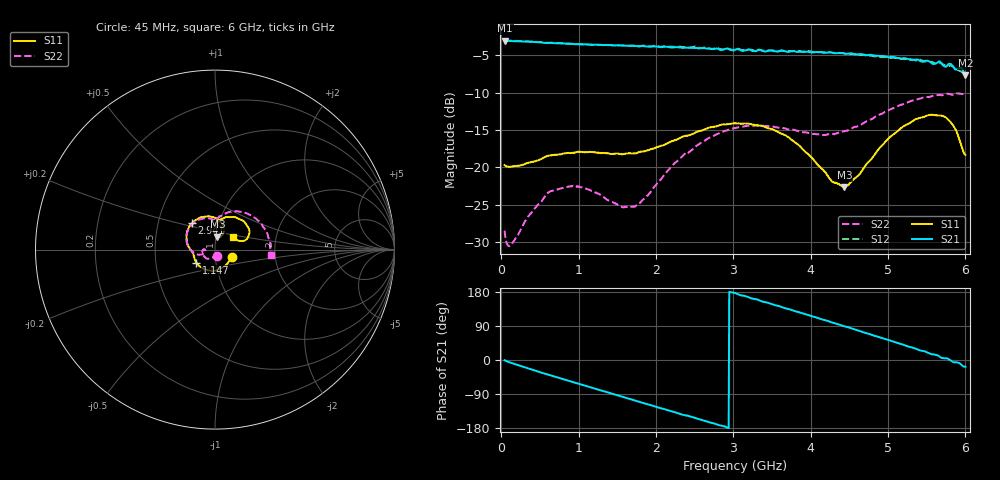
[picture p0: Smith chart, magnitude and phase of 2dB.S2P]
! C:\Users\Aljaz\OneDrive - Univerza v Ljubljani\DOKTORAT\NOVI SA\Slabilec PE43711B\meritve\2dB.S2P
! Touchstone 1.1 file saved by VNA.EXE V1.65 (www.ke5fx.com/gpib/readme.htm)
! 2. 04. 2022 19:12:01
!  Source: HP8510C.07.14: Aug 26  1998
!  Min freq: 4.500000E+007 Hz
!  Max freq: 6.000000E+009 Hz
!  Points: 801
!  Params: S11 S21 S12 S22
# GHZ S DB R 50
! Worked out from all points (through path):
!   801 points, 45 MHz to 6 GHz, reference 50 ohm
!   highest |S21| = -3.03 dB at 52.44 MHz (marker M1); lowest = -7.6 dB at 6 GHz (marker M2)
!   group delay of S21, straight-line fit = 171 ps
!   lowest |S11| = -22.7 dB at 4.437 GHz (marker M3), VSWR 1.16, Z = 50.8 + j7.39 ohm
!   |S11| at or under -10 dB: start of sweep to end of sweep
!   |S22| runs from -30.6 to -10.1 dB; largest |S21 - S12| = 0.029
!   S11 on the Smith chart (normalised r, x): 45 MHz: 1.21, -0.10; 1.147 GHz: 0.80, -0.12; 2.941 GHz: 0.74, +0.23; 6 GHz: 1.21, +0.17
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0.045  -19.69 -22.2  -3.05 -0.7  -3.00 -0.6  -28.51 -69.8
0.05244375  -19.78 -21.5  -3.03 -1.5  -2.99 -1.5  -29.25 -68.5
0.0896625  -19.91 -23.6  -3.06 -4.7  -3.02 -4.6  -30.51 -69.1
0.134325  -19.88 -29.0  -3.05 -8.0  -3.01 -8.0  -30.33 -73.9
0.6181688  -18.45 -96.2  -3.32 -39.1  -3.30 -39.1  -23.33 -133.4
1.042463  -17.94 -136.9  -3.51 -65.1  -3.52 -65.1  -22.67 -168.1
1.146675  -17.92 -145.1  -3.55 -71.4  -3.54 -71.3  -23.05 -174.6
1.697512  -18.15 -170.6  -3.69 -105.0  -3.66 -104.3  -25.28 -169.4
2.032481  -17.22 179.9  -3.82 -125.4  -3.75 -125.1  -21.92 -160.3
2.516325  -15.30 157.9  -3.99 -153.4  -3.83 -154.0  -17.19 180.0
2.940619  -14.21 131.3  -4.15 -179.7  -4.09 -179.5  -14.96 151.8
3.0225  -14.09 125.7  -4.25 176.7  -4.24 176.3  -14.74 146.3
3.528675  -14.99 90.4  -4.42 145.2  -4.35 145.2  -14.58 114.0
4.019963  -18.76 64.4  -4.59 115.4  -4.48 114.9  -15.53 93.5
4.27305  -21.89 66.2  -4.63 99.1  -4.61 99.0  -15.55 88.4
4.436813  -22.67 79.6  -4.76 88.9  -4.74 88.4  -15.15 85.9
4.660125  -20.53 93.0  -4.83 74.8  -4.95 74.6  -14.23 78.6
5.009981  -16.11 84.4  -5.24 52.4  -5.30 52.7  -12.31 62.0
5.367281  -13.52 59.3  -5.55 29.4  -5.70 30.1  -10.95 38.6
5.694806  -13.09 31.3  -6.14 5.6  -6.06 7.0  -10.34 13.5
5.851125  -14.54 18.5  -6.66 -6.0  -6.57 -4.9  -10.26 2.2
6  -18.35 35.1  -7.64 -17.9  -7.65 -16.0  -10.06 -5.8
